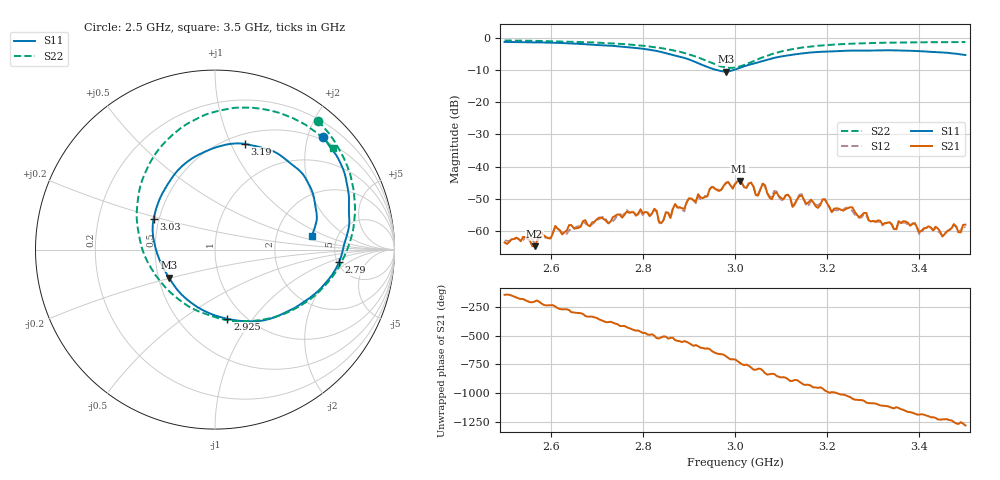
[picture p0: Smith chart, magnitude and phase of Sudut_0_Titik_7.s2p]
# Hz S RI R 50
! CMT, C1220, 16058040, 17.2.0/1
! Date: 15/08/2018 10:06:11
! Data: Format (Calibration Info)
! Freq  S11: Re/Im (F2)  S21: Re/Im (F2)  S12: Re/Im (F2)  S22: Re/Im (F2)
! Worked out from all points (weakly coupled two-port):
!   201 points, 2.5 GHz to 3.5 GHz, reference 50 ohm
!   highest |S21| = -44.47 dB at 3.01 GHz (marker M1); lowest = -64.8 dB at 2.565 GHz (marker M2)
!   lowest |S11| = -10.4 dB at 2.98 GHz (marker M3), VSWR 1.86, Z = 28.4 - j9.75 ohm
!   |S11| at or under -10 dB: 2.961 GHz to 2.996 GHz (34.52 MHz wide, 1.16 % of centre)
!   |S22| runs from -9.3 to -0.8 dB; largest |S21 - S12| = 0.00045
!   S11 on the Smith chart (normalised r, x): 2.5 GHz: 0.44, +2.26; 2.79 GHz: 5.20, -1.36; 2.925 GHz: 0.83, -0.76; 3.03 GHz: 0.47, +0.19; 3.19 GHz: 0.60, +1.13; 3.5 GHz: 3.22, +0.70
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2.5e9  0.5998 0.6297  -0.000535 -0.000379  -0.000533 -0.000466  0.5721 0.717
2.565e9  0.668 0.5367  -0.000528 0.000229  -0.000523 0.000372  0.6447 0.6342
2.58e9  0.6851 0.5098  -0.00073 0.0006  -0.000587 0.000543  0.6607 0.6108
2.67e9  0.7448 0.3084  0.000912 0.00107  0.00095 0.000978  0.7449 0.4436
2.79e9  0.6922 -0.0675  -0.000131 -0.00185  -0.000191 -0.00178  0.7661 0.0949
2.825e9  0.6083 -0.1953  -0.0017 -0.0014  -0.00166 -0.00133  0.7207 -0.037
2.835e9  0.5744 -0.2309  -0.00134 -0.000383  -0.00127 -0.000419  0.7013 -0.0765
2.925e9  0.0694 -0.386  -0.00146 0.00298  -0.00147 0.00274  0.292 -0.3855
2.98e9  -0.2567 -0.1564  0.00407 0.00379  0.00389 0.00378  -0.1397 -0.3209
3e9  -0.3222 -0.0221  0.00516 0.0013  0.00519 0.000981  -0.2765 -0.2105
3.01e9  -0.3395 0.0437  0.0058 -0.00146  0.00552 -0.00129  -0.3321 -0.1415
3.03e9  -0.3426 0.1708  0.00404 -0.00361  0.00415 -0.00359  -0.408 0.0121
3.05e9  -0.3068 0.2853  0.00135 -0.00325  0.00134 -0.00348  -0.4362 0.172
3.115e9  -0.09 0.5295  -0.00336 -0.00133  -0.00346 -0.00117  -0.2943 0.5814
3.125e9  -0.0515 0.5476  -0.00233 -0.000336  -0.00229 -0.000223  -0.2547 0.6224
3.14e9  0.00496 0.5697  -0.00346 4.26e-06  -0.00367 -2.82e-05  -0.1956 0.6731
3.17e9  0.1051 0.5908  -0.00179 0.0021  -0.00197 0.00206  -0.076 0.7417
3.19e9  0.1667 0.5891  -0.00165 0.00258  -0.0015 0.0027  -0.00195 0.7674
3.21e9  0.2251 0.5766  3.24e-06 0.00195  0.00012 0.0019  0.0721 0.7837
3.335e9  0.4872 0.4229  0.00108 -0.000833  0.000998 -0.00094  0.4076 0.7434
3.45e9  0.5672 0.1852  -0.000682 -0.000444  -0.000703 -0.000435  0.5983 0.6239
3.5e9  0.5388 0.0765  -0.00117 0.000421  -0.00104 0.000387  0.6565 0.565
